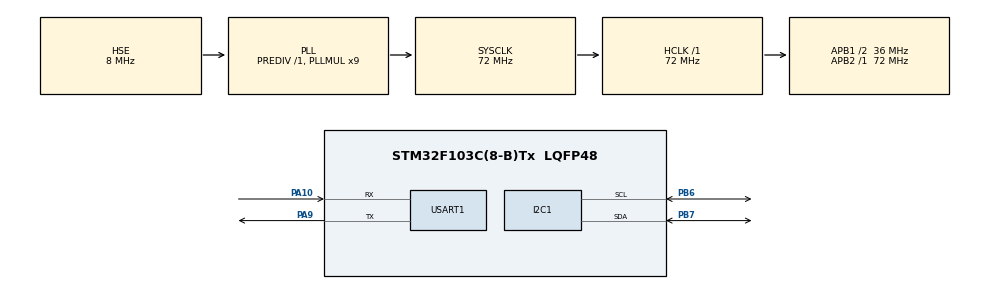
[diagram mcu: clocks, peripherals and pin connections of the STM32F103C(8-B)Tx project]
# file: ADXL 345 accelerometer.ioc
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I2C1.I2C_Mode=I2C_Standard
Mcu.Family=STM32F1
Mcu.Name=STM32F103C(8-B)Tx
Mcu.Package=LQFP48
NVIC.PriorityGroup=NVIC_PRIORITYGROUP_4
PA10.Mode=Asynchronous
PA10.Signal=USART1_RX
PA13.Mode=Serial_Wire
PA13.Signal=SYS_JTMS-SWDIO
PA14.Mode=Serial_Wire
PA14.Signal=SYS_JTCK-SWCLK
PA9.Mode=Asynchronous
PA9.Signal=USART1_TX
PB6.Mode=I2C
PB6.Signal=I2C1_SCL
PB7.Mode=I2C
PB7.Signal=I2C1_SDA
PD0-OSC_IN.Mode=HSE-External-Oscillator
PD0-OSC_IN.Signal=RCC_OSC_IN
PD1-OSC_OUT.Mode=HSE-External-Oscillator
PD1-OSC_OUT.Signal=RCC_OSC_OUT
ProjectManager.HeapSize=0x200
ProjectManager.StackSize=0x400
ProjectManager.TargetToolchain=STM32CubeIDE
RCC.AHBFreq_Value=72000000
RCC.APB1CLKDivider=RCC_HCLK_DIV2
RCC.APB1Freq_Value=36000000
RCC.APB1TimFreq_Value=72000000
RCC.APB2Freq_Value=72000000
RCC.APB2TimFreq_Value=72000000
RCC.HCLKFreq_Value=72000000
RCC.PLLMUL=RCC_PLL_MUL9
RCC.PLLSourceVirtual=RCC_PLLSOURCE_HSE
RCC.SYSCLKFreq_VALUE=72000000
RCC.SYSCLKSource=RCC_SYSCLKSOURCE_PLLCLK
RCC.USBFreq_Value=72000000
USART1.VirtualMode=VM_ASYNC
board=custom

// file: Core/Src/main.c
/* USER CODE BEGIN Header */
/**
 ******************************************************************************
 * @file           : main.c
 * @brief          : Main program body
 ******************************************************************************
 * @attention
 *
 * Copyright (c) 2024 STMicroelectronics.
 * All rights reserved.
 *
 * This software is licensed under terms that can be found in the LICENSE file
 * in the root directory of this software component.
 * If no LICENSE file comes with this software, it is provided AS-IS.
 *
 ******************************************************************************
 */
/* USER CODE END Header */
#include "main.h"

/* USER CODE BEGIN Includes */
#include "../../Drivers/Device_Devices/ADXL_345_accelerometer/ADXL_345_accelerometer.h"
#include "../../Drivers/Device_Devices/HD44780_LCD/HD44780_LCD.h"
#include "Hardware_Interface.h"
#include "stdio.h"
/* USER CODE END Includes */

I2C_HandleTypeDef hi2c1;

UART_HandleTypeDef huart1;

/* USER CODE BEGIN PV */
adxl345_t config = { .Data_Rate = data_rate_100HZ, .Power_Mode =
		normal_power_mode, .AG_HW_Interface_t.Read_Hw_Data = Read_Hw_Data,
		.AG_HW_Interface_t.Write_HW_config = Write_HW_config, .Measure = 1,
		.Sleep = 0, .Range = range_setting_4g, .Wakeup = 0b00

};
Alcd_t lcd =
		{ .RS_GPIO = GPIOA, .RS_GPIO_Pin = GPIO_PIN_4, .EN_GPIO = GPIOA,
				.EN_GPIO_Pin = GPIO_PIN_5, .Data_GPIO = GPIOA,
				.Data_GPIO_Start_Pin = 0 };
int8_t str[20];
/* USER CODE END PV */

void SystemClock_Config(void);
static void MX_GPIO_Init(void);
static void MX_I2C1_Init(void);
static void MX_USART1_UART_Init(void);

int main(void)
{

  /* MCU Configuration--------------------------------------------------------*/

  /* Reset of all peripherals, Initializes the Flash interface and the Systick. */
  HAL_Init();

  /* Configure the system clock */
  SystemClock_Config();

  /* Initialize all configured peripherals */
  MX_GPIO_Init();
  MX_I2C1_Init();
  MX_USART1_UART_Init();
  /* USER CODE BEGIN 2 */
	ADXL345_Init(&config);
	__HAL_RCC_GPIOA_CLK_ENABLE();
	Alcd_Init(&lcd, 2, 16);
	if (ADXL345_Init(&config) == ADXL345_success) {
		Alcd_PutAt_n(&lcd, 0, 0, "init ok", 7);
	} else {
		Alcd_PutAt_n(&lcd, 0, 0, "init nok", 8);
	}
	HAL_Delay(3000);
	Alcd_Clear(&lcd);
	ADXL345_WriteConfig(&config);
  /* USER CODE END 2 */

  /* Infinite loop */
	while (1) {

    /* USER CODE BEGIN 3 */

		if (ADXL345_ReadData(&config) != 1) {
			// Format the acceleration data into a string
			uint8_t length = sprintf(str, "X:%02.2f Y:%02.2f Z:%02.2f \r\n", config.X_Axis,
					config.Y_Axis,config.Z_Axis);

			// Display the formatted string on the LCD
			HAL_UART_Transmit(&huart1, str, length, 100);

		} else {
			// Handle the case where reading data fails
			Alcd_PutAt_n(&lcd, 0, 0, "Error", 5);
		}

		// Delay to control the refresh rate
		HAL_Delay(100);
	}
	ADXL345_WriteConfig(&config);

  /* USER CODE END 3 */
}

void SystemClock_Config(void)
{
  RCC_OscInitTypeDef RCC_OscInitStruct = {0};
  RCC_ClkInitTypeDef RCC_ClkInitStruct = {0};

  /** Initializes the RCC Oscillators according to the specified parameters
  * in the RCC_OscInitTypeDef structure.
  */
  RCC_OscInitStruct.OscillatorType = RCC_OSCILLATORTYPE_HSE;
  RCC_OscInitStruct.HSEState = RCC_HSE_ON;
  RCC_OscInitStruct.HSEPredivValue = RCC_HSE_PREDIV_DIV1;
  RCC_OscInitStruct.HSIState = RCC_HSI_ON;
  RCC_OscInitStruct.PLL.PLLState = RCC_PLL_ON;
  RCC_OscInitStruct.PLL.PLLSource = RCC_PLLSOURCE_HSE;
  RCC_OscInitStruct.PLL.PLLMUL = RCC_PLL_MUL9;
  if (HAL_RCC_OscConfig(&RCC_OscInitStruct) != HAL_OK)
  {
    Error_Handler();
  }

  /** Initializes the CPU, AHB and APB buses clocks
  */
  RCC_ClkInitStruct.ClockType = RCC_CLOCKTYPE_HCLK|RCC_CLOCKTYPE_SYSCLK
                              |RCC_CLOCKTYPE_PCLK1|RCC_CLOCKTYPE_PCLK2;
  RCC_ClkInitStruct.SYSCLKSource = RCC_SYSCLKSOURCE_PLLCLK;
  RCC_ClkInitStruct.AHBCLKDivider = RCC_SYSCLK_DIV1;
  RCC_ClkInitStruct.APB1CLKDivider = RCC_HCLK_DIV2;
  RCC_ClkInitStruct.APB2CLKDivider = RCC_HCLK_DIV1;

  if (HAL_RCC_ClockConfig(&RCC_ClkInitStruct, FLASH_LATENCY_2) != HAL_OK)
  {
    Error_Handler();
  }
}

static void MX_I2C1_Init(void)
{

  hi2c1.Instance = I2C1;
  hi2c1.Init.ClockSpeed = 100000;
  hi2c1.Init.DutyCycle = I2C_DUTYCYCLE_2;
  hi2c1.Init.OwnAddress1 = 0;
  hi2c1.Init.AddressingMode = I2C_ADDRESSINGMODE_7BIT;
  hi2c1.Init.DualAddressMode = I2C_DUALADDRESS_DISABLE;
  hi2c1.Init.OwnAddress2 = 0;
  hi2c1.Init.GeneralCallMode = I2C_GENERALCALL_DISABLE;
  hi2c1.Init.NoStretchMode = I2C_NOSTRETCH_DISABLE;
  if (HAL_I2C_Init(&hi2c1) != HAL_OK)
  {
    Error_Handler();
  }

}

static void MX_USART1_UART_Init(void)
{

  huart1.Instance = USART1;
  huart1.Init.BaudRate = 115200;
  huart1.Init.WordLength = UART_WORDLENGTH_8B;
  huart1.Init.StopBits = UART_STOPBITS_1;
  huart1.Init.Parity = UART_PARITY_NONE;
  huart1.Init.Mode = UART_MODE_TX_RX;
  huart1.Init.HwFlowCtl = UART_HWCONTROL_NONE;
  huart1.Init.OverSampling = UART_OVERSAMPLING_16;
  if (HAL_UART_Init(&huart1) != HAL_OK)
  {
    Error_Handler();
  }

}

static void MX_GPIO_Init(void)
{

  /* GPIO Ports Clock Enable */
  __HAL_RCC_GPIOD_CLK_ENABLE();
  __HAL_RCC_GPIOA_CLK_ENABLE();
  __HAL_RCC_GPIOB_CLK_ENABLE();

}

void Error_Handler(void)
{
	__disable_irq();
	while (1) {
	}
}
